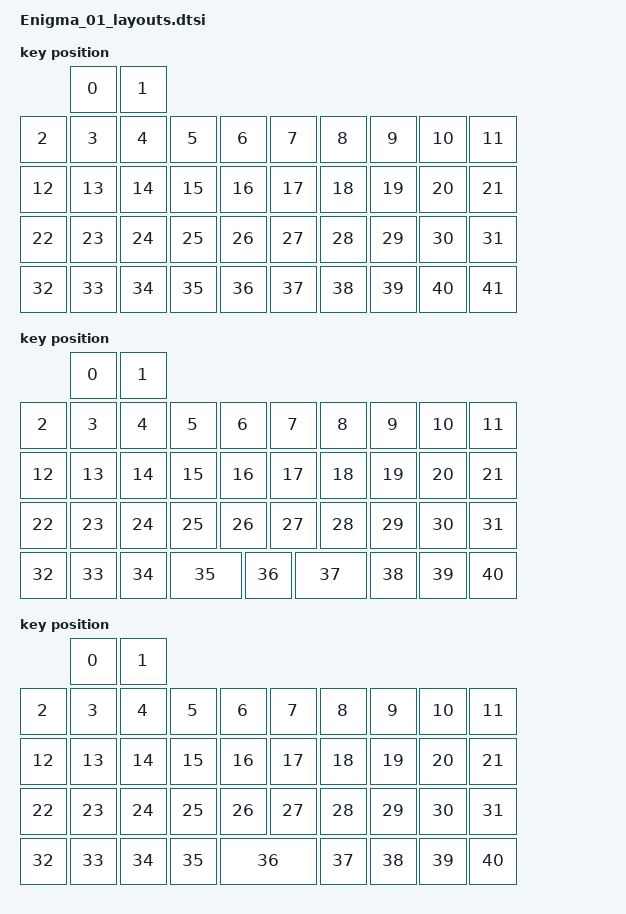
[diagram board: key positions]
#include <physical_layouts.dtsi>

/ {
    // 親指キー1.0u
    layout_a: layout_a {
        compatible = "zmk,physical-layout";
        display-name = "Enigma_01 ThumbKey 1.0u";
        transform = <&transform_a>;
        kscan = <&kscan_0>;

        keys = <
            &key_physical_attrs 100 100 100   0 0 0 0  // RC(6,4)
            &key_physical_attrs 100 100 200   0 0 0 0  // RC(6,5)
            &key_physical_attrs 100 100   0 100 0 0 0  // RC(0,1)
            &key_physical_attrs 100 100 100 100 0 0 0  // RC(0,5)
            &key_physical_attrs 100 100 200 100 0 0 0  // RC(1,3)
            &key_physical_attrs 100 100 300 100 0 0 0  // RC(2,0)
            &key_physical_attrs 100 100 400 100 0 0 0  // RC(2,5)
            &key_physical_attrs 100 100 500 100 0 0 0  // RC(3,2)
            &key_physical_attrs 100 100 600 100 0 0 0  // RC(4,0)
            &key_physical_attrs 100 100 700 100 0 0 0  // RC(4,5)
            &key_physical_attrs 100 100 800 100 0 0 0  // RC(5,2)
            &key_physical_attrs 100 100 900 100 0 0 0  // RC(6,0)
            &key_physical_attrs 100 100   0 200 0 0 0  // RC(0,2)
            &key_physical_attrs 100 100 100 200 0 0 0  // RC(0,6)
            &key_physical_attrs 100 100 200 200 0 0 0  // RC(1,4)
            &key_physical_attrs 100 100 300 200 0 0 0  // RC(2,1)
            &key_physical_attrs 100 100 400 200 0 0 0  // RC(2,6)
            &key_physical_attrs 100 100 500 200 0 0 0  // RC(3,4)
            &key_physical_attrs 100 100 600 200 0 0 0  // RC(4,1)
            &key_physical_attrs 100 100 700 200 0 0 0  // RC(4,6)
            &key_physical_attrs 100 100 800 200 0 0 0  // RC(5,3)
            &key_physical_attrs 100 100 900 200 0 0 0  // RC(6,1)
            &key_physical_attrs 100 100   0 300 0 0 0  // RC(0,3)
            &key_physical_attrs 100 100 100 300 0 0 0  // RC(1,0)
            &key_physical_attrs 100 100 200 300 0 0 0  // RC(1,5)
            &key_physical_attrs 100 100 300 300 0 0 0  // RC(2,3)
            &key_physical_attrs 100 100 400 300 0 0 0  // RC(3,0)
            &key_physical_attrs 100 100 500 300 0 0 0  // RC(3,5)
            &key_physical_attrs 100 100 600 300 0 0 0  // RC(4,2)
            &key_physical_attrs 100 100 700 300 0 0 0  // RC(5,0)
            &key_physical_attrs 100 100 800 300 0 0 0  // RC(5,4)
            &key_physical_attrs 100 100 900 300 0 0 0  // RC(6,2)
            &key_physical_attrs 100 100   0 400 0 0 0  // RC(0,4)
            &key_physical_attrs 100 100 100 400 0 0 0  // RC(1,2)
            &key_physical_attrs 100 100 200 400 0 0 0  // RC(1,6)
            &key_physical_attrs 100 100 300 400 0 0 0  // RC(2,4)
            &key_physical_attrs 100 100 400 400 0 0 0  // RC(3,1)
            &key_physical_attrs 100 100 500 400 0 0 0  // RC(3,6)
            &key_physical_attrs 100 100 600 400 0 0 0  // RC(4,3)
            &key_physical_attrs 100 100 700 400 0 0 0  // RC(5,1)
            &key_physical_attrs 100 100 800 400 0 0 0  // RC(5,6)
            &key_physical_attrs 100 100 900 400 0 0 0  // RC(6,3)
        >;
    };

    // 親指キー1.5u
    layout_b: layout_b {
        compatible = "zmk,physical-layout";
        display-name = "Enigma_01 ThumbKey 1.5u";
        transform = <&transform_bc>;
        kscan = <&kscan_0>;

        keys = <
            &key_physical_attrs 100 100 100   0 0 0 0  // RC(6,4)
            &key_physical_attrs 100 100 200   0 0 0 0  // RC(6,5)
            &key_physical_attrs 100 100   0 100 0 0 0  // RC(0,1)
            &key_physical_attrs 100 100 100 100 0 0 0  // RC(0,5)
            &key_physical_attrs 100 100 200 100 0 0 0  // RC(1,3)
            &key_physical_attrs 100 100 300 100 0 0 0  // RC(2,0)
            &key_physical_attrs 100 100 400 100 0 0 0  // RC(2,5)
            &key_physical_attrs 100 100 500 100 0 0 0  // RC(3,2)
            &key_physical_attrs 100 100 600 100 0 0 0  // RC(4,0)
            &key_physical_attrs 100 100 700 100 0 0 0  // RC(4,5)
            &key_physical_attrs 100 100 800 100 0 0 0  // RC(5,2)
            &key_physical_attrs 100 100 900 100 0 0 0  // RC(6,0)
            &key_physical_attrs 100 100   0 200 0 0 0  // RC(0,2)
            &key_physical_attrs 100 100 100 200 0 0 0  // RC(0,6)
            &key_physical_attrs 100 100 200 200 0 0 0  // RC(1,4)
            &key_physical_attrs 100 100 300 200 0 0 0  // RC(2,1)
            &key_physical_attrs 100 100 400 200 0 0 0  // RC(2,6)
            &key_physical_attrs 100 100 500 200 0 0 0  // RC(3,4)
            &key_physical_attrs 100 100 600 200 0 0 0  // RC(4,1)
            &key_physical_attrs 100 100 700 200 0 0 0  // RC(4,6)
            &key_physical_attrs 100 100 800 200 0 0 0  // RC(5,3)
            &key_physical_attrs 100 100 900 200 0 0 0  // RC(6,1)
            &key_physical_attrs 100 100   0 300 0 0 0  // RC(0,3)
            &key_physical_attrs 100 100 100 300 0 0 0  // RC(1,0)
            &key_physical_attrs 100 100 200 300 0 0 0  // RC(1,5)
            &key_physical_attrs 100 100 300 300 0 0 0  // RC(2,3)
            &key_physical_attrs 100 100 400 300 0 0 0  // RC(3,0)
            &key_physical_attrs 100 100 500 300 0 0 0  // RC(3,5)
            &key_physical_attrs 100 100 600 300 0 0 0  // RC(4,2)
            &key_physical_attrs 100 100 700 300 0 0 0  // RC(5,0)
            &key_physical_attrs 100 100 800 300 0 0 0  // RC(5,4)
            &key_physical_attrs 100 100 900 300 0 0 0  // RC(6,2)
            &key_physical_attrs 100 100   0 400 0 0 0  // RC(0,4)
            &key_physical_attrs 100 100 100 400 0 0 0  // RC(1,2)
            &key_physical_attrs 100 100 200 400 0 0 0  // RC(1,6)
            &key_physical_attrs 150 100 300 400 0 0 0  // RC(2,4)
            &key_physical_attrs 100 100 450 400 0 0 0  // RC(3,1)
            &key_physical_attrs 150 100 550 400 0 0 0  // RC(4,3)
            &key_physical_attrs 100 100 700 400 0 0 0  // RC(5,1)
            &key_physical_attrs 100 100 800 400 0 0 0  // RC(5,6)
            &key_physical_attrs 100 100 900 400 0 0 0  // RC(6,3)
        >;
    };

    // 親指キー2.0u
    layout_c: layout_c {
        compatible = "zmk,physical-layout";
        display-name = "Enigma_01 ThumbKey 2.0u";
        transform = <&transform_bc>;
        kscan = <&kscan_0>;

        keys = <
            &key_physical_attrs 100 100 100   0 0 0 0  // RC(6,4)
            &key_physical_attrs 100 100 200   0 0 0 0  // RC(6,5)
            &key_physical_attrs 100 100   0 100 0 0 0  // RC(0,1)
            &key_physical_attrs 100 100 100 100 0 0 0  // RC(0,5)
            &key_physical_attrs 100 100 200 100 0 0 0  // RC(1,3)
            &key_physical_attrs 100 100 300 100 0 0 0  // RC(2,0)
            &key_physical_attrs 100 100 400 100 0 0 0  // RC(2,5)
            &key_physical_attrs 100 100 500 100 0 0 0  // RC(3,2)
            &key_physical_attrs 100 100 600 100 0 0 0  // RC(4,0)
            &key_physical_attrs 100 100 700 100 0 0 0  // RC(4,5)
            &key_physical_attrs 100 100 800 100 0 0 0  // RC(5,2)
            &key_physical_attrs 100 100 900 100 0 0 0  // RC(6,0)
            &key_physical_attrs 100 100   0 200 0 0 0  // RC(0,2)
            &key_physical_attrs 100 100 100 200 0 0 0  // RC(0,6)
            &key_physical_attrs 100 100 200 200 0 0 0  // RC(1,4)
            &key_physical_attrs 100 100 300 200 0 0 0  // RC(2,1)
            &key_physical_attrs 100 100 400 200 0 0 0  // RC(2,6)
            &key_physical_attrs 100 100 500 200 0 0 0  // RC(3,4)
            &key_physical_attrs 100 100 600 200 0 0 0  // RC(4,1)
            &key_physical_attrs 100 100 700 200 0 0 0  // RC(4,6)
            &key_physical_attrs 100 100 800 200 0 0 0  // RC(5,3)
            &key_physical_attrs 100 100 900 200 0 0 0  // RC(6,1)
            &key_physical_attrs 100 100   0 300 0 0 0  // RC(0,3)
            &key_physical_attrs 100 100 100 300 0 0 0  // RC(1,0)
            &key_physical_attrs 100 100 200 300 0 0 0  // RC(1,5)
            &key_physical_attrs 100 100 300 300 0 0 0  // RC(2,3)
            &key_physical_attrs 100 100 400 300 0 0 0  // RC(3,0)
            &key_physical_attrs 100 100 500 300 0 0 0  // RC(3,5)
            &key_physical_attrs 100 100 600 300 0 0 0  // RC(4,2)
            &key_physical_attrs 100 100 700 300 0 0 0  // RC(5,0)
            &key_physical_attrs 100 100 800 300 0 0 0  // RC(5,4)
            &key_physical_attrs 100 100 900 300 0 0 0  // RC(6,2)
            &key_physical_attrs 100 100   0 400 0 0 0  // RC(0,4)
            &key_physical_attrs 100 100 100 400 0 0 0  // RC(1,2)
            &key_physical_attrs 100 100 200 400 0 0 0  // RC(1,6)
            &key_physical_attrs 100 100 300 400 0 0 0  // RC(2,4)
            &key_physical_attrs 200 100 400 400 0 0 0  // RC(3,1)
            &key_physical_attrs 100 100 600 400 0 0 0  // RC(4,3)
            &key_physical_attrs 100 100 700 400 0 0 0  // RC(5,1)
            &key_physical_attrs 100 100 800 400 0 0 0  // RC(5,6)
            &key_physical_attrs 100 100 900 400 0 0 0  // RC(6,3)
        >;
    };

    position_map {
        compatible = "zmk,physical-layout-position-map";

        map_a: map_a {
            physical-layout = <&layout_a>;
            positions = <38>;
        };

        map_b: map_b {
            physical-layout = <&layout_b>;
            positions = <37>;
        };

        map_c: map_c {
            physical-layout = <&layout_c>;
            positions = <37>;
        };
    };
};
